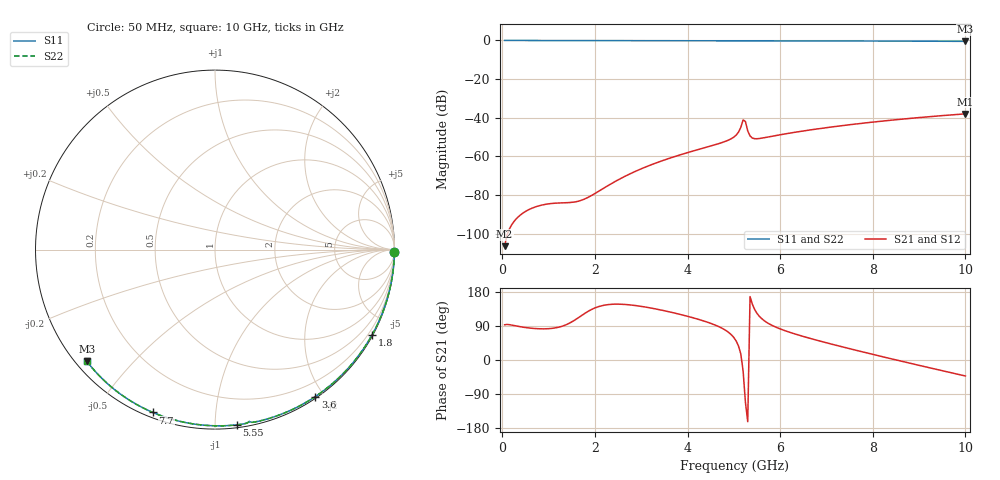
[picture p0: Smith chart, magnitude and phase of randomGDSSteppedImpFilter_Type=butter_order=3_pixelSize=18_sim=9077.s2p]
! freq	dB(S11)	phase(S11)	dB(S12)	phase(S12)
!  dB(S21)	phase(S21)	dB(S22)	phase(S22)
!S-par simulation data
#  GHz  S  DB  R 50
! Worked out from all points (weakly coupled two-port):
!   200 points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, 50 MHz to 10 GHz, reference 50 ohm
!   highest |S21| = -38.01 dB at 10 GHz (marker M1); lowest = -106.5 dB at 50 MHz (marker M2)
!   lowest |S11| = -0.5 dB at 10 GHz (marker M3), VSWR 36.79, Z = 1.55 - j18.7 ohm
!   |S11| at or under -10 dB: nowhere
!   |S22| runs from -0.5 to 0.0 dB; largest |S21 - S12| = 0
!   S11 on the Smith chart (normalised r, x): 50 MHz: open; 1.8 GHz: 0.03, -3.94; 3.6 GHz: 0.02, -1.89; 5.55 GHz: 0.02, -1.13; 7.7 GHz: 0.02, -0.69; 10 GHz: 0.03, -0.37
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0.05  -0.00 -0.8  -106.54 93.0  -106.54 93.0  -0.00 -0.8
0.9  -0.02 -14.4  -85.01 82.2  -85.01 82.2  -0.02 -14.4
1.75  -0.04 -27.7  -82.39 120.5  -82.39 120.5  -0.04 -27.7
1.8  -0.04 -28.5  -81.87 124.4  -81.87 124.4  -0.04 -28.5
1.95  -0.04 -30.8  -79.99 134.7  -79.99 134.7  -0.04 -30.8
2.65  -0.05 -41.5  -70.33 146.6  -70.33 146.6  -0.05 -41.6
3.4  -0.07 -52.8  -62.74 132.6  -62.74 132.6  -0.07 -52.8
3.6  -0.07 -55.7  -61.08 127.3  -61.08 127.3  -0.07 -55.7
4.75  -0.11 -72.2  -52.84 83.5  -52.84 83.5  -0.11 -72.2
4.95  -0.11 -75.0  -50.82 66.1  -50.82 66.1  -0.11 -75.0
5.05  -0.12 -76.4  -49.01 50.2  -49.01 50.2  -0.12 -76.4
5.15  -0.14 -77.9  -45.02 16.0  -45.02 16.0  -0.14 -77.9
5.2  -0.20 -78.7  -41.16 -28.7  -41.16 -28.7  -0.20 -78.7
5.25  -0.21 -78.7  -41.94 -111.4  -41.94 -111.4  -0.21 -78.7
5.3  -0.16 -79.4  -46.85 -162.8  -46.85 -162.8  -0.16 -79.4
5.35  -0.14 -80.1  -49.46 167.3  -49.46 167.3  -0.14 -80.2
5.45  -0.14 -81.6  -50.88 133.2  -50.88 133.2  -0.14 -81.6
5.55  -0.14 -83.0  -50.79 115.3  -50.79 115.3  -0.14 -83.0
6.7  -0.19 -98.2  -46.16 55.2  -46.16 55.2  -0.19 -98.2
7.7  -0.25 -110.9  -43.08 23.8  -43.08 23.8  -0.25 -110.9
8.35  -0.31 -118.9  -41.41 4.6  -41.41 4.6  -0.31 -118.9
10  -0.47 -139.0  -38.01 -42.2  -38.01 -42.2  -0.47 -139.0
